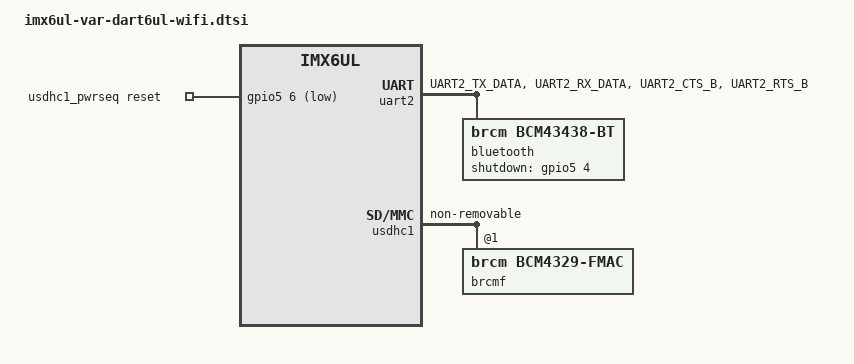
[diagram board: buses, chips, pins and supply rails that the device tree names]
// SPDX-License-Identifier: (GPL-2.0+ OR MIT)
/*
 * Copyright 2021 Amotus Solution Inc.
 * Author: Marc Ferland <ferlandm@amotus.ca>
*/

/ {
	usdhc1_pwrseq: usdhc1-pwrseq {
		compatible = "mmc-pwrseq-simple";
		pinctrl-names = "default";
		pinctrl-0 = <&pinctrl_snvs_brcm_wifi>;
		reset-gpios = <&gpio5 6 GPIO_ACTIVE_LOW>;
	};
};

&uart2 {
	pinctrl-names = "default";
	pinctrl-0 = <&pinctrl_uart2>;
	uart-has-rtscts;
	status = "okay";

	bluetooth {
		compatible = "brcm,bcm43438-bt";
		pinctrl-names = "default";
		pinctrl-0 = <&pinctrl_snvs_brcm_bt>;
		shutdown-gpios = <&gpio5 4 GPIO_ACTIVE_HIGH>;
	};
};

&usdhc1 {
	pinctrl-names = "default", "state_100mhz", "state_200mhz";
	pinctrl-0 = <&pinctrl_usdhc1 &pinctrl_brcm_lpo>;
	pinctrl-1 = <&pinctrl_usdhc1_100mhz &pinctrl_brcm_lpo>;
	pinctrl-2 = <&pinctrl_usdhc1_200mhz &pinctrl_brcm_lpo>;
	no-1-8-v;
	non-removable;
	mmc-pwrseq = <&usdhc1_pwrseq>;
	status = "okay";

	#address-cells = <1>;
	#size-cells = <0>;

	/* CYW4343W */
	brcmf: wifi@1 {
		compatible = "brcm,bcm4329-fmac";
		reg = <1>;
	};
};

&iomuxc {
	pinctrl_uart2: uart2grp {
		fsl,pins = <
		MX6UL_PAD_UART2_TX_DATA__UART2_DCE_TX	0x1b0b1
		MX6UL_PAD_UART2_RX_DATA__UART2_DCE_RX	0x1b0b1
		MX6UL_PAD_UART2_CTS_B__UART2_DCE_CTS	0x1b0b1
		MX6UL_PAD_UART2_RTS_B__UART2_DCE_RTS	0x1b0b1
		>;
	};
};
